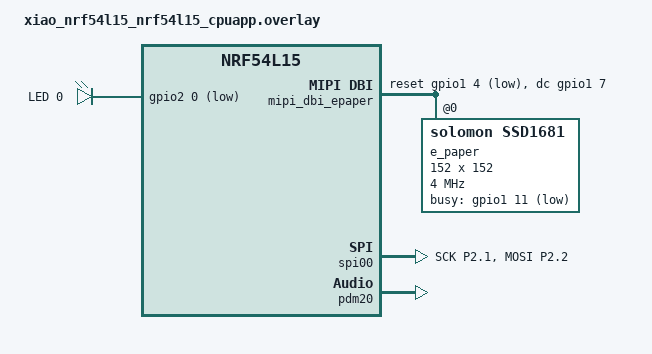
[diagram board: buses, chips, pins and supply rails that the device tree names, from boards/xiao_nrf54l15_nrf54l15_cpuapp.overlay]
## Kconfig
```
# SPDX-License-Identifier: Apache-2.0

mainmenu "The-Tag Firmware Configuration"

config FIND_MY
	bool "Apple Find My (OpenHaystack) support"
	default y
	depends on BT && BT_BROADCASTER && BT_EXT_ADV
	help
	  Enables non-connectable BLE advertising compatible with Apple's
	  Find My network using the OpenHaystack Offline Finding protocol.
	  When enabled, the device broadcasts a manufacturer-specific
	  advertisement that nearby Apple devices silently relay to Apple's
	  servers, allowing the tag to appear in the Find My app.

	  A unique EC P-224 key pair must be generated with the OpenHaystack
	  desktop application for production use.  See firmware/src/find_my.h
	  for details on key provisioning and rotation.

	  Reference: https://github.com/seemoo-lab/openhaystack

if FIND_MY

config FIND_MY_DEMO_KEY
	bool "Use built-in demonstration public key"
	default y
	help
	  Use the placeholder public key hard-coded in find_my.c.  This is
	  intended only for verifying the advertisement format during
	  development.  The placeholder key is NOT a valid EC P-224 point and
	  will NOT decrypt correctly on Apple's servers.

	  Disable this option and provision a real key pair generated by the
	  OpenHaystack desktop application before shipping.

endif # FIND_MY

source "Kconfig.zephyr"
```

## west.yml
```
manifest:
  version: "1.0"
  defaults:
    remote: ncs
    revision: main

  self:
    path: west-manifest

  remotes:
    - name: ncs
      url-base: https://github.com/nrfconnect

  projects:
    - name: nrf
      repo-path: sdk-nrf
      revision: v3.2.4
      import: true
```

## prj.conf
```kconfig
CONFIG_SPI=y
CONFIG_DISPLAY=y
CONFIG_SSD16XX=n
CONFIG_LOG=y
CONFIG_BT=y
CONFIG_BT_PERIPHERAL=y
CONFIG_BT_BROADCASTER=y
CONFIG_BT_DEVICE_NAME="the-tag"
CONFIG_BT_SMP=y
CONFIG_BT_BONDABLE=y

CONFIG_SETTINGS=y
CONFIG_BT_SETTINGS=y
CONFIG_BT_GATT_CACHING=n

# BLE data throughput: negotiate larger MTU for faster image transfer
CONFIG_BT_L2CAP_TX_MTU=247
CONFIG_BT_BUF_ACL_RX_SIZE=251
CONFIG_BT_BUF_ACL_TX_SIZE=251
CONFIG_BT_CTLR_DATA_LENGTH_MAX=251

# GATT config
CONFIG_BT_GATT_CLIENT=y
CONFIG_BT_ATT_PREPARE_COUNT=2

# Required for manual driver
CONFIG_GPIO=y
CONFIG_MCUBOOT_EXTRA_IMGTOOL_ARGS="--header-size 0x800"

# Audio: PDM microphone + LC3 encoding + BLE audio streaming
CONFIG_AUDIO=y
CONFIG_AUDIO_DMIC=y
CONFIG_FPU=y
CONFIG_LIBLC3=y
CONFIG_HEAP_MEM_POOL_SIZE=16384
```

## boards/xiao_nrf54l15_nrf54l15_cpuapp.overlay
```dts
&pinctrl {
	spi00_default: spi00_default {
		group1 {
			psels = <NRF_PSEL(SPIM_SCK, 2, 1)>,
				<NRF_PSEL(SPIM_MOSI, 2, 2)>;
		};
	};

	spi00_sleep: spi00_sleep {
		group1 {
			psels = <NRF_PSEL(SPIM_SCK, 2, 1)>,
				<NRF_PSEL(SPIM_MOSI, 2, 2)>;
			low-power-enable;
		};
	};

};

&spi00 {
	status = "okay";
	pinctrl-0 = <&spi00_default>;
	pinctrl-1 = <&spi00_sleep>;
	pinctrl-names = "default", "sleep";

	cs-gpios = <&gpio1 5 GPIO_ACTIVE_LOW>; /* D1 -> P1.05 */
};

/ {
	chosen {
		zephyr,display = &e_paper;
	};

	leds {
		compatible = "gpio-leds";

		led0: led_0 {
			gpios = <&gpio2 0 GPIO_ACTIVE_LOW>;
			label = "LED 0";
		};
	};

	aliases {
		led0  = &led0;
		dmic0 = &pdm20;
	};

	mipi_dbi_epaper: mipi-dbi-epaper {
		compatible = "zephyr,mipi-dbi-spi";
		spi-dev = <&spi00>;
		dc-gpios = <&gpio1 7 GPIO_ACTIVE_HIGH>;    /* D3 -> P1.07 */
		reset-gpios = <&gpio1 4 GPIO_ACTIVE_LOW>;  /* D0 -> P1.04 */
		#address-cells = <1>;
		#size-cells = <0>;


		e_paper: ssd16xx@0 {
			compatible = "solomon,ssd1681";
			reg = <0>;
			mipi-max-frequency = <4000000>;
			mipi-mode = "MIPI_DBI_MODE_SPI_4WIRE";

			busy-gpios = <&gpio1 11 GPIO_ACTIVE_LOW>; /* D5 -> P1.11 */
			width = <152>;
			height = <152>;
			rotation = <0>;
		};
	};
};

/* PDM microphone (Zephyr DMIC API) */
&pdm20 {
	status = "okay";
	pinctrl-0 = <&pdm20_default>;
	pinctrl-names = "default";
	clock-source = "PCLK32M";
};
```

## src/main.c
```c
/*
 * Copyright (c) 2024 Kelvin
 * SPDX-License-Identifier: Apache-2.0
 */

#include <zephyr/device.h>
#include <zephyr/drivers/spi.h>
#include <zephyr/drivers/gpio.h>
#include <zephyr/kernel.h>
#include <zephyr/logging/log.h>
#include <string.h>
#include <zephyr/bluetooth/bluetooth.h>
#include <zephyr/bluetooth/hci.h>

#include "ble_backend.h"
#include "ble_image_service.h"
#include "ble_audio_service.h"
#include "mic_driver.h"
#include "image_boaviet.h"

LOG_MODULE_REGISTER(main, CONFIG_LOG_DEFAULT_LEVEL);

#define EPD_WIDTH 152
#define EPD_HEIGHT 152
#define BUFFER_SIZE (EPD_WIDTH * EPD_HEIGHT / 4)

/* GPIO pins */
#define DC_NODE    DT_NODELABEL(gpio1)
#define RESET_NODE DT_NODELABEL(gpio1)
#define BUSY_NODE  DT_NODELABEL(gpio1)
#define CS_NODE    DT_NODELABEL(gpio1)

#define DC_PIN     7   // P1.07 (D3)
#define RESET_PIN  4   // P1.04 (D0)
#define BUSY_PIN   11  // P1.11 (D5)
#define CS_PIN     5   // P1.05 (D1)

/* LED */
#define LED0_NODE DT_ALIAS(led0)

static struct gpio_dt_spec dc_gpio;
static struct gpio_dt_spec reset_gpio;
static struct gpio_dt_spec busy_gpio;
static struct gpio_dt_spec cs_gpio;
static struct gpio_dt_spec led = GPIO_DT_SPEC_GET(LED0_NODE, gpios);

static const struct device *spi_dev;
static struct spi_config spi_cfg;

static uint8_t frame_buffer[BUFFER_SIZE];

static K_SEM_DEFINE(image_ready_sem, 0, 1);
static const uint8_t *pending_image_data;
static uint16_t pending_image_size;

static void on_ble_image_ready(const uint8_t *data, uint16_t size)
{
    pending_image_data = data;
    pending_image_size = size;
    k_sem_give(&image_ready_sem);
}

/* Helper functions */
static void jd79661_write_cmd(uint8_t cmd)
{
    struct spi_buf tx_buf = {.buf = &cmd, .len = 1};
    struct spi_buf_set tx_bufs = {.buffers = &tx_buf, .count = 1};
    
    gpio_pin_set_dt(&cs_gpio, 1);  // CS active (low)
    gpio_pin_set_dt(&dc_gpio, 0);  // Command mode
    spi_write(spi_dev, &spi_cfg, &tx_bufs);
    gpio_pin_set_dt(&cs_gpio, 0);  // CS inactive (high)
}

static void jd79661_write_data(uint8_t data)
{
    struct spi_buf tx_buf = {.buf = &data, .len = 1};
    struct spi_buf_set tx_bufs = {.buffers = &tx_buf, .count = 1};
    
    gpio_pin_set_dt(&cs_gpio, 1);  // CS active (low)
    gpio_pin_set_dt(&dc_gpio, 1);  // Data mode
    spi_write(spi_dev, &spi_cfg, &tx_bufs);
    gpio_pin_set_dt(&cs_gpio, 0);  // CS inactive (high)
}

static void jd79661_write_data_bulk(const uint8_t *data, size_t len)
{
    gpio_pin_set_dt(&cs_gpio, 1);  // CS active (low)
    gpio_pin_set_dt(&dc_gpio, 1);  // Data mode
    
    // Write in chunks
    const size_t chunk_size = 256;
    for (size_t i = 0; i < len; i += chunk_size) {
        size_t remaining = len - i;
        size_t write_len = (remaining < chunk_size) ? remaining : chunk_size;
        
        struct spi_buf tx_buf = {.buf = (void *)(data + i), .len = write_len};
        struct spi_buf_set tx_bufs = {.buffers = &tx_buf, .count = 1};
        spi_write(spi_dev, &spi_cfg, &tx_bufs);
    }
    
    gpio_pin_set_dt(&cs_gpio, 0);  // CS inactive (high)
}

static bool jd79661_wait_busy(void)
{
    int cnt = 0;
    /* BUSY=0 means busy, BUSY=1 means idle */
    LOG_INF("Waiting for busy (initial: %d)...", gpio_pin_get_dt(&busy_gpio));
    while (gpio_pin_get_dt(&busy_gpio) == 0) {
        k_msleep(10);
        cnt++;
        if (cnt > 500) { // 5s timeout
            LOG_WRN("Busy timeout, continue anyway");
            return false;
        }
    }
    LOG_INF("Busy released");
    return true;
}

static void jd79661_reset(void)
{
    k_msleep(20);
    gpio_pin_set_dt(&reset_gpio, 0);  // Reset low
    k_msleep(40);
    gpio_pin_set_dt(&reset_gpio, 1);  // Reset high
    k_msleep(50);
}

static int jd79661_init(void)
{
    LOG_INF("Initializing JD79661...");
    
    jd79661_reset();
    (void)jd79661_wait_busy();
    
    // Initialization sequence from STM32 sample code
    jd79661_write_cmd(0x4D);
    jd79661_write_data(0x78);
    k_usleep(100);
    
    jd79661_write_cmd(0x00);  // PSR
    jd79661_write_data(0x0F);
    jd79661_write_data(0x29);
    k_usleep(100);
    
    jd79661_write_cmd(0x01);  // PWRR
    jd79661_write_data(0x07);
    jd79661_write_data(0x00);
    k_usleep(100);
    
    jd79661_write_cmd(0x03);  // POFS
    jd79661_write_data(0x10);
    jd79661_write_data(0x54);
    jd79661_write_data(0x44);
    k_usleep(100);
    
    jd79661_write_cmd(0x06);  // BTST_P
    jd79661_write_data(0x05);
    jd79661_write_data(0x00);
    jd79661_write_data(0x3F);
    jd79661_write_data(0x0A);
    jd79661_write_data(0x25);
    jd79661_write_data(0x12);
    jd79661_write_data(0x1A);
    k_usleep(100);
    
    jd79661_write_cmd(0x50);  // CDI
    jd79661_write_data(0x37);
    k_usleep(100);
    
    jd79661_write_cmd(0x60);  // TCON
    jd79661_write_data(0x02);
    jd79661_write_data(0x02);
    k_usleep(100);
    
    jd79661_write_cmd(0x61);  // TRES
    jd79661_write_data(EPD_WIDTH / 256);
    jd79661_write_data(EPD_WIDTH % 256);
    jd79661_write_data(EPD_HEIGHT / 256);
    jd79661_write_data(EPD_HEIGHT % 256);
    k_usleep(100);
    
    jd79661_write_cmd(0xE7);
    jd79661_write_data(0x1C);
    k_usleep(100);
    
    jd79661_write_cmd(0xE3);
    jd79661_write_data(0x22);
    k_usleep(100);
    
    jd79661_write_cmd(0xB4);
    jd79661_write_data(0xD0);
    k_usleep(100);
    
    jd79661_write_cmd(0xB5);
    jd79661_write_data(0x03);
    k_usleep(100);
    
    jd79661_write_cmd(0xE9);
    jd79661_write_data(0x01);
    k_usleep(100);
    
    jd79661_write_cmd(0x30);
    jd79661_write_data(0x08);
    k_usleep(100);
    
    jd79661_write_cmd(0x04);  // Power on
    (void)jd79661_wait_busy();
    
    LOG_INF("JD79661 initialized");
    return 0;
}

static void jd79661_display_frame(const uint8_t *buffer, size_t size)
{
    LOG_INF("Sending framebuffer (%d bytes)...", size);
    
    jd79661_write_cmd(0x10);  // Write data
    jd79661_write_data_bulk(buffer, size);
    
    LOG_INF("Refreshing display...");
    jd79661_write_cmd(0x12);  // Display refresh
    jd79661_write_data(0x00);
    (void)jd79661_wait_busy();
    
    LOG_INF("Display update complete");
}

int main(void)
{
    int ret;
    
    LOG_INF("=== The-Tag Firmware ===");
    
    ble_backend_init();
    ble_image_service_init(on_ble_image_ready);
    ble_audio_service_init();

    int mic_err = mic_driver_init();
    if (mic_err) {
        LOG_WRN("Mic driver init failed (%d) – audio streaming unavailable", mic_err);
    }

    /* LED Init */
    if (!gpio_is_ready_dt(&led)) {
        LOG_ERR("LED GPIO not ready");
        return -ENODEV;
    }
    gpio_pin_configure_dt(&led, GPIO_OUTPUT_ACTIVE);
    
    /* SPI Init */
    spi_dev = DEVICE_DT_GET(DT_NODELABEL(spi00));
    if (!device_is_ready(spi_dev)) {
        LOG_ERR("SPI device not ready");
        return -ENODEV;
    }
    
    spi_cfg.frequency = 4000000;  // 4 MHz
    spi_cfg.operation = SPI_WORD_SET(8) | SPI_TRANSFER_MSB | SPI_OP_MODE_MASTER;
    spi_cfg.slave = 0;
    spi_cfg.cs = (struct spi_cs_control) {
        .gpio = {0},  // No auto CS
        .delay = 0,
    };
    
    /* GPIO Init */
    dc_gpio.port = DEVICE_DT_GET(DC_NODE);
    dc_gpio.pin = DC_PIN;
    dc_gpio.dt_flags = GPIO_ACTIVE_HIGH;
    
    reset_gpio.port = DEVICE_DT_GET(RESET_NODE);
    reset_gpio.pin = RESET_PIN;
    reset_gpio.dt_flags = GPIO_ACTIVE_HIGH;
    
    busy_gpio.port = DEVICE_DT_GET(BUSY_NODE);
    busy_gpio.pin = BUSY_PIN;
    busy_gpio.dt_flags = GPIO_ACTIVE_HIGH;
    
    cs_gpio.port = DEVICE_DT_GET(CS_NODE);
    cs_gpio.pin = CS_PIN;
    cs_gpio.dt_flags = GPIO_ACTIVE_LOW;
    
    if (!device_is_ready(dc_gpio.port)) {
        LOG_ERR("GPIO not ready");
        return -ENODEV;
    }
    
    ret = gpio_pin_configure_dt(&dc_gpio, GPIO_OUTPUT_INACTIVE);
    ret |= gpio_pin_configure_dt(&reset_gpio, GPIO_OUTPUT_ACTIVE);
    ret |= gpio_pin_configure_dt(&busy_gpio, GPIO_INPUT);
    ret |= gpio_pin_configure_dt(&cs_gpio, GPIO_OUTPUT_INACTIVE);
    
    if (ret < 0) {
        LOG_ERR("Failed to configure GPIO: %d", ret);
        return ret;
    }
    
    LOG_INF("GPIO configured");
    
    /* Initialize Display */
    ret = jd79661_init();
    if (ret < 0) {
        LOG_ERR("Failed to init display");
        return ret;
    }
    
    /* Display default image on boot */
    LOG_INF("Loading default image (%u bytes)...", BUFFER_SIZE);
    memcpy(frame_buffer, image_image_boaviet, BUFFER_SIZE);
    jd79661_display_frame(frame_buffer, sizeof(frame_buffer));
    LOG_INF("Default image displayed. Waiting for BLE images...");

    while (1) {
        if (k_sem_take(&image_ready_sem, K_MSEC(500)) == 0) {
            LOG_INF("BLE image received (%u bytes), updating display...", pending_image_size);
            memcpy(frame_buffer, pending_image_data, pending_image_size);
            jd79661_display_frame(frame_buffer, sizeof(frame_buffer));
            ble_image_notify_display_done();
            LOG_INF("BLE image displayed successfully");
        }
        gpio_pin_toggle_dt(&led);
    }

    return 0;
}
```

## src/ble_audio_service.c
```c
#include <zephyr/kernel.h>
#include <zephyr/bluetooth/bluetooth.h>
#include <zephyr/bluetooth/gatt.h>
#include <zephyr/bluetooth/uuid.h>
#include <zephyr/logging/log.h>
#include <string.h>

#include "ble_audio_service.h"
#include "mic_driver.h"

LOG_MODULE_REGISTER(ble_audio_svc, CONFIG_LOG_DEFAULT_LEVEL);

static struct bt_uuid_128 audio_svc_uuid  = BT_UUID_INIT_128(BLE_AUDIO_SERVICE_UUID);
static struct bt_uuid_128 audio_data_uuid = BT_UUID_INIT_128(BLE_AUDIO_DATA_CHAR_UUID);
static struct bt_uuid_128 audio_ctrl_uuid = BT_UUID_INIT_128(BLE_AUDIO_CTRL_CHAR_UUID);

static bool data_notifications_enabled;
static bool ctrl_notifications_enabled;

static void audio_data_ccc_changed(const struct bt_gatt_attr *attr, uint16_t value);
static void audio_ctrl_ccc_changed(const struct bt_gatt_attr *attr, uint16_t value);
static ssize_t audio_ctrl_write_cb(struct bt_conn *conn, const struct bt_gatt_attr *attr,
                                   const void *buf, uint16_t len, uint16_t offset,
                                   uint8_t flags);

/*
 * GATT service attribute table (indices used when sending notifications):
 *   [0] Primary service declaration
 *   [1] Audio Data characteristic declaration
 *   [2] Audio Data characteristic value   ← notify audio frames here
 *   [3] Audio Data CCC descriptor
 *   [4] Audio Ctrl characteristic declaration
 *   [5] Audio Ctrl characteristic value   ← notify status here
 *   [6] Audio Ctrl CCC descriptor
 */
BT_GATT_SERVICE_DEFINE(audio_svc,
    BT_GATT_PRIMARY_SERVICE(&audio_svc_uuid),

    /* Audio Data – Notify only (firmware → phone) */
    BT_GATT_CHARACTERISTIC(&audio_data_uuid.uuid,
                           BT_GATT_CHRC_NOTIFY,
                           BT_GATT_PERM_NONE,
                           NULL, NULL, NULL),
    BT_GATT_CCC(audio_data_ccc_changed, BT_GATT_PERM_READ | BT_GATT_PERM_WRITE),

    /* Audio Control – Write + Notify (phone ↔ firmware) */
    BT_GATT_CHARACTERISTIC(&audio_ctrl_uuid.uuid,
                           BT_GATT_CHRC_WRITE | BT_GATT_CHRC_NOTIFY,
                           BT_GATT_PERM_WRITE,
                           NULL, audio_ctrl_write_cb, NULL),
    BT_GATT_CCC(audio_ctrl_ccc_changed, BT_GATT_PERM_READ | BT_GATT_PERM_WRITE),
);

/* ------------------------------------------------------------------ */
/* CCC callbacks                                                        */
/* ------------------------------------------------------------------ */

static void audio_data_ccc_changed(const struct bt_gatt_attr *attr, uint16_t value)
{
    data_notifications_enabled = (value == BT_GATT_CCC_NOTIFY);
    LOG_INF("Audio data notifications %s",
            data_notifications_enabled ? "enabled" : "disabled");

    /* Mic start/stop is driven by the explicit CMD_START / CMD_STOP
     * commands on the control characteristic – not by CCC toggling –
     * to avoid a double-start race and to give the app full control. */
}

static void audio_ctrl_ccc_changed(const struct bt_gatt_attr *attr, uint16_t value)
{
    ctrl_notifications_enabled = (value == BT_GATT_CCC_NOTIFY);
    LOG_INF("Audio ctrl notifications %s",
            ctrl_notifications_enabled ? "enabled" : "disabled");
}

/* ------------------------------------------------------------------ */
/* Helpers                                                              */
/* ------------------------------------------------------------------ */

static void send_ctrl_status(uint8_t status)
{
    if (!ctrl_notifications_enabled) {
        return;
    }
    /* Audio Ctrl char value is at index 5 */
    const struct bt_gatt_attr *attr = &audio_svc.attrs[5];
    int err = bt_gatt_notify(NULL, attr, &status, sizeof(status));

    if (err) {
        LOG_DBG("Ctrl status notify failed: %d", err);
    }
}

/* ------------------------------------------------------------------ */
/* Control write handler                                                */
/* ------------------------------------------------------------------ */

static ssize_t audio_ctrl_write_cb(struct bt_conn *conn, const struct bt_gatt_attr *attr,
                                   const void *buf, uint16_t len, uint16_t offset,
                                   uint8_t flags)
{
    ARG_UNUSED(conn);
    ARG_UNUSED(attr);
    ARG_UNUSED(offset);
    ARG_UNUSED(flags);

    const uint8_t *cmd = buf;

    if (len < 1) {
        return BT_GATT_ERR(BT_ATT_ERR_INVALID_ATTRIBUTE_LEN);
    }

    switch (cmd[0]) {
    case AUDIO_CMD_START:
        LOG_INF("Audio CMD_START received");
        mic_driver_start();
        send_ctrl_status(AUDIO_STATUS_RECORDING);
        break;

    case AUDIO_CMD_STOP:
        LOG_INF("Audio CMD_STOP received");
        mic_driver_stop();
        send_ctrl_status(AUDIO_STATUS_STOPPED);
        break;

    default:
        LOG_WRN("Unknown audio command: 0x%02x", cmd[0]);
        return BT_GATT_ERR(BT_ATT_ERR_NOT_SUPPORTED);
    }

    return len;
}

/* ------------------------------------------------------------------ */
/* Public API                                                           */
/* ------------------------------------------------------------------ */

void ble_audio_service_notify_frame(const uint8_t *lc3_data, uint16_t len, uint16_t seq)
{
    if (!data_notifications_enabled) {
        return;
    }

    if (len > AUDIO_FRAME_BYTES) {
        len = AUDIO_FRAME_BYTES;
    }

    /* Build notification: [seq_lo, seq_hi, len_lo, len_hi, ...lc3_data...] */
    uint8_t frame[AUDIO_FRAME_HEADER_SIZE + AUDIO_FRAME_BYTES];

    frame[0] = (uint8_t)(seq & 0xFF);
    frame[1] = (uint8_t)((seq >> 8) & 0xFF);
    frame[2] = (uint8_t)(len & 0xFF);
    frame[3] = (uint8_t)((len >> 8) & 0xFF);
    memcpy(&frame[AUDIO_FRAME_HEADER_SIZE], lc3_data, len);

    /* Audio Data char value is at index 2 */
    const struct bt_gatt_attr *attr = &audio_svc.attrs[2];
    int err = bt_gatt_notify(NULL, attr, frame, AUDIO_FRAME_HEADER_SIZE + len);

    if (err) {
        LOG_DBG("Audio frame notify failed (seq=%u): %d", seq, err);
    }
}

bool ble_audio_service_is_streaming(void)
{
    return data_notifications_enabled;
}

void ble_audio_service_init(void)
{
    data_notifications_enabled = false;
    ctrl_notifications_enabled = false;
    LOG_INF("BLE Audio Service initialised");
}
```

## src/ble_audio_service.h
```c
#ifndef BLE_AUDIO_SERVICE_H
#define BLE_AUDIO_SERVICE_H

#include <zephyr/types.h>
#include <stdbool.h>

/* LC3 audio parameters */
#define AUDIO_SAMPLE_RATE_HZ        16000
#define AUDIO_FRAME_DURATION_US     10000   /* 10 ms */
#define AUDIO_BITRATE_BPS           32000   /* 32 kbps */
#define AUDIO_FRAME_BYTES           40      /* 32000 / 8 * 0.010 = 40 bytes per LC3 frame */
#define AUDIO_CHANNELS              1       /* Mono */
#define AUDIO_PCM_SAMPLES_PER_FRAME 160     /* 16000 Hz * 0.010 s */

/* BLE Audio Service UUIDs */
#define BLE_AUDIO_SERVICE_UUID \
    BT_UUID_128_ENCODE(0x12345678, 0x1234, 0x5678, 0x1234, 0x56789abcdef3)

/* Audio Data characteristic – Notify (firmware → phone): carries LC3 frames */
#define BLE_AUDIO_DATA_CHAR_UUID \
    BT_UUID_128_ENCODE(0x12345678, 0x1234, 0x5678, 0x1234, 0x56789abcdef4)

/* Audio Control characteristic – Write | Notify (phone ↔ firmware): commands/status */
#define BLE_AUDIO_CTRL_CHAR_UUID \
    BT_UUID_128_ENCODE(0x12345678, 0x1234, 0x5678, 0x1234, 0x56789abcdef5)

/* Control commands (phone → firmware, written to ctrl char) */
#define AUDIO_CMD_START  0x01   /* Begin recording and streaming */
#define AUDIO_CMD_STOP   0x02   /* Stop recording and streaming */

/* Status notifications (firmware → phone, notified on ctrl char) */
#define AUDIO_STATUS_RECORDING  0x01
#define AUDIO_STATUS_STOPPED    0x02
#define AUDIO_STATUS_ERROR      0xFF

/*
 * Audio data frame layout sent as BLE notification on the data characteristic:
 *   Byte 0-1 : sequence number (little-endian)
 *   Byte 2-3 : LC3 payload length in bytes (little-endian)
 *   Byte 4…  : LC3-encoded audio payload
 */
#define AUDIO_FRAME_HEADER_SIZE 4

/**
 * @brief Initialise the BLE Audio GATT service.
 *
 * Must be called after bt_enable().
 */
void ble_audio_service_init(void);

/**
 * @brief Notify a single LC3 audio frame to all subscribed clients.
 *
 * @param lc3_data  Pointer to LC3-encoded frame bytes.
 * @param len       Length of lc3_data (must be <= AUDIO_FRAME_BYTES).
 * @param seq       Monotonically-increasing sequence number.
 */
void ble_audio_service_notify_frame(const uint8_t *lc3_data, uint16_t len, uint16_t seq);

/**
 * @brief Return true when at least one client has subscribed to audio data notifications.
 */
bool ble_audio_service_is_streaming(void);

#endif /* BLE_AUDIO_SERVICE_H */
```

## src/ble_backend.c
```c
#include <zephyr/kernel.h>
#include <zephyr/bluetooth/gatt.h>
#include <zephyr/bluetooth/hci.h>
#include <zephyr/logging/log.h>
#include <zephyr/settings/settings.h>

#include "ble_image_service.h"
#include "mic_driver.h"

LOG_MODULE_REGISTER(ble_backend);

/* Work item to restart advertising from the system workqueue
 * (must not block the BT RX thread in the disconnected callback). */
static struct k_work adv_restart_work;

static const struct bt_data ad[] = {
	BT_DATA_BYTES(BT_DATA_FLAGS, (BT_LE_AD_GENERAL | BT_LE_AD_NO_BREDR)),
	BT_DATA_BYTES(BT_DATA_UUID128_ALL, BLE_IMAGE_SERVICE_UUID),
};

static const struct bt_data sd[] = {
	BT_DATA(BT_DATA_NAME_COMPLETE, CONFIG_BT_DEVICE_NAME, sizeof(CONFIG_BT_DEVICE_NAME) - 1),
};

static void start_adv(void)
{
	int err;

	err = bt_le_adv_start(BT_LE_ADV_CONN_FAST_1, ad, ARRAY_SIZE(ad), sd, ARRAY_SIZE(sd));
	if (err) {
		LOG_ERR("Advertising failed to start (err %d)", err);
		return;
	}

	LOG_INF("Advertising successfully started");
}

static void adv_restart_work_handler(struct k_work *work)
{
	ARG_UNUSED(work);
	start_adv();
}

static void connected(struct bt_conn *conn, uint8_t err)
{
	if (err) {
		LOG_ERR("Connection failed, err 0x%02x %s", err, bt_hci_err_to_str(err));
	} else {
		LOG_INF("Connected");
	}
}

static void disconnected(struct bt_conn *conn, uint8_t reason)
{
	LOG_INF("Disconnected, reason 0x%02x %s", reason, bt_hci_err_to_str(reason));

	/* Stop mic capture if still running (prevents resource leak) */
	mic_driver_stop();

	/* Defer advertising restart to the system workqueue so we do not
	 * block the BT RX thread – the stack needs to finish connection
	 * cleanup before bt_le_adv_start() can succeed. */
	k_work_submit(&adv_restart_work);
}

BT_CONN_CB_DEFINE(conn_callbacks) = {
	.connected = connected,
	.disconnected = disconnected,
};

static void auth_cancel(struct bt_conn *conn)
{
	char addr[BT_ADDR_LE_STR_LEN];

	bt_addr_le_to_str(bt_conn_get_dst(conn), addr, sizeof(addr));

	LOG_INF("Pairing cancelled: %s", addr);
}

static struct bt_conn_auth_cb auth_cb_display = {
	.cancel = auth_cancel,
};

void backend_ble_hook(bool status, void *ctx)
{
	ARG_UNUSED(ctx);

	if (status) {
		LOG_INF("Bluetooth Logger Backend enabled.");
	} else {
		LOG_INF("Bluetooth Logger Backend disabled.");
	}
}

void ble_backend_init(void)
{
	int err;

	LOG_INF("Bluetooth LOG Demo");
	// logger_backend_ble_set_hook(backend_ble_hook, NULL);
	err = bt_enable(NULL);
	if (err) {
		LOG_ERR("Bluetooth init failed (err %d)", err);
		return;
	}
	
	settings_load();

	k_work_init(&adv_restart_work, adv_restart_work_handler);
	bt_conn_auth_cb_register(&auth_cb_display);

	start_adv();
}
```

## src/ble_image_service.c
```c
#include <zephyr/kernel.h>
#include <zephyr/bluetooth/bluetooth.h>
#include <zephyr/bluetooth/gatt.h>
#include <zephyr/bluetooth/uuid.h>
#include <zephyr/logging/log.h>
#include <string.h>

#include "ble_image_service.h"

LOG_MODULE_REGISTER(ble_image_svc, CONFIG_LOG_DEFAULT_LEVEL);

static uint8_t image_buffer[EPD_IMAGE_SIZE];
static uint16_t image_offset;
static uint16_t image_expected_size;
static bool transfer_active;
static ble_image_ready_cb_t ready_callback;
static ble_find_device_cb_t find_callback;

static struct bt_uuid_128 image_svc_uuid = BT_UUID_INIT_128(BLE_IMAGE_SERVICE_UUID);
static struct bt_uuid_128 image_data_uuid = BT_UUID_INIT_128(BLE_IMAGE_DATA_CHAR_UUID);
static struct bt_uuid_128 image_ctrl_uuid = BT_UUID_INIT_128(BLE_IMAGE_CTRL_CHAR_UUID);

static void ctrl_ccc_changed(const struct bt_gatt_attr *attr, uint16_t value);
static ssize_t data_write_cb(struct bt_conn *conn, const struct bt_gatt_attr *attr,
                             const void *buf, uint16_t len, uint16_t offset, uint8_t flags);
static ssize_t ctrl_write_cb(struct bt_conn *conn, const struct bt_gatt_attr *attr,
                             const void *buf, uint16_t len, uint16_t offset, uint8_t flags);

BT_GATT_SERVICE_DEFINE(image_svc,
    BT_GATT_PRIMARY_SERVICE(&image_svc_uuid),

    /* Image Data characteristic - Write Without Response */
    BT_GATT_CHARACTERISTIC(&image_data_uuid.uuid,
                           BT_GATT_CHRC_WRITE_WITHOUT_RESP,
                           BT_GATT_PERM_WRITE,
                           NULL, data_write_cb, NULL),

    /* Control characteristic - Write + Notify */
    BT_GATT_CHARACTERISTIC(&image_ctrl_uuid.uuid,
                           BT_GATT_CHRC_WRITE | BT_GATT_CHRC_NOTIFY,
                           BT_GATT_PERM_WRITE,
                           NULL, ctrl_write_cb, NULL),
    BT_GATT_CCC(ctrl_ccc_changed, BT_GATT_PERM_READ | BT_GATT_PERM_WRITE),
);

static bool notifications_enabled;

static void ctrl_ccc_changed(const struct bt_gatt_attr *attr, uint16_t value)
{
    notifications_enabled = (value == BT_GATT_CCC_NOTIFY);
    LOG_INF("Image ctrl notifications %s", notifications_enabled ? "enabled" : "disabled");
}

static void send_notification(const uint8_t *data, uint16_t len)
{
    if (!notifications_enabled) {
        return;
    }

    /* Ctrl characteristic value attr is at index 4 (after svc, data chrc, data val, ctrl chrc) */
    const struct bt_gatt_attr *attr = &image_svc.attrs[4];

    bt_gatt_notify(NULL, attr, data, len);
}

static void send_status(uint8_t status)
{
    send_notification(&status, 1);
}

static void send_progress(uint16_t received)
{
    uint8_t buf[3] = {IMG_STATUS_PROGRESS, received & 0xFF, received >> 8};
    send_notification(buf, sizeof(buf));
}

static void send_error(uint8_t err_code)
{
    uint8_t buf[2] = {IMG_STATUS_ERROR, err_code};
    send_notification(buf, sizeof(buf));
}

static ssize_t data_write_cb(struct bt_conn *conn, const struct bt_gatt_attr *attr,
                             const void *buf, uint16_t len, uint16_t offset, uint8_t flags)
{
    if (!transfer_active) {
        LOG_WRN("Data received but no transfer active");
        send_error(IMG_ERR_NOT_STARTED);
        return len;
    }

    if (image_offset + len > image_expected_size) {
        LOG_ERR("Data overflow: offset=%u len=%u expected=%u", image_offset, len, image_expected_size);
        send_error(IMG_ERR_OVERFLOW);
        transfer_active = false;
        return len;
    }

    memcpy(&image_buffer[image_offset], buf, len);
    image_offset += len;

    /* Send progress every ~1KB */
    if ((image_offset % 1024) < len || image_offset == image_expected_size) {
        send_progress(image_offset);
    }

    return len;
}

static ssize_t ctrl_write_cb(struct bt_conn *conn, const struct bt_gatt_attr *attr,
                             const void *buf, uint16_t len, uint16_t offset, uint8_t flags)
{
    const uint8_t *cmd = buf;

    if (len < 1) {
        return BT_GATT_ERR(BT_ATT_ERR_INVALID_ATTRIBUTE_LEN);
    }

    switch (cmd[0]) {
    case IMG_CMD_START:
        if (len < 3) {
            return BT_GATT_ERR(BT_ATT_ERR_INVALID_ATTRIBUTE_LEN);
        }
        image_expected_size = cmd[1] | (cmd[2] << 8);
        if (image_expected_size > EPD_IMAGE_SIZE) {
            LOG_ERR("Invalid image size: %u (max %u)", image_expected_size, EPD_IMAGE_SIZE);
            send_error(IMG_ERR_INVALID_SIZE);
            return len;
        }
        image_offset = 0;
        transfer_active = true;
        memset(image_buffer, 0, sizeof(image_buffer));
        LOG_INF("Image transfer started, expecting %u bytes", image_expected_size);
        send_status(IMG_STATUS_READY);
        break;

    case IMG_CMD_COMMIT:
        if (!transfer_active) {
            send_error(IMG_ERR_NOT_STARTED);
            return len;
        }
        if (image_offset < image_expected_size) {
            LOG_WRN("Incomplete transfer: %u/%u bytes", image_offset, image_expected_size);
            send_error(IMG_ERR_INCOMPLETE);
            return len;
        }
        transfer_active = false;
        LOG_INF("Image transfer complete (%u bytes), displaying...", image_offset);
        send_status(IMG_STATUS_DISPLAYING);

        if (ready_callback) {
            ready_callback(image_buffer, image_offset);
        }
        break;

    case IMG_CMD_CANCEL:
        transfer_active = false;
        image_offset = 0;
        LOG_INF("Image transfer cancelled");
        break;

    case IMG_CMD_FIND:
        LOG_INF("Find-device command received: starting LED blink");
        send_status(IMG_STATUS_FINDING);
        if (find_callback) {
            find_callback();
        }
        break;

    default:
        LOG_WRN("Unknown control command: 0x%02x", cmd[0]);
        return BT_GATT_ERR(BT_ATT_ERR_NOT_SUPPORTED);
    }

    return len;
}

void ble_image_service_init(ble_image_ready_cb_t callback)
{
    ready_callback = callback;
    find_callback = NULL;
    transfer_active = false;
    image_offset = 0;
    LOG_INF("BLE Image Service initialized");
}

void ble_image_service_set_find_cb(ble_find_device_cb_t callback)
{
    find_callback = callback;
}

void ble_image_notify_display_done(void)
{
    send_status(IMG_STATUS_DONE);
    LOG_INF("Display done notification sent");
}
```

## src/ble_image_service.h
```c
#ifndef BLE_IMAGE_SERVICE_H
#define BLE_IMAGE_SERVICE_H

#include <zephyr/types.h>

#define EPD_IMAGE_SIZE 5776 /* 152*152/4 bytes, 2bpp */

/* BLE Image Service UUIDs */
#define BLE_IMAGE_SERVICE_UUID \
    BT_UUID_128_ENCODE(0x12345678, 0x1234, 0x5678, 0x1234, 0x56789abcdef0)

#define BLE_IMAGE_DATA_CHAR_UUID \
    BT_UUID_128_ENCODE(0x12345678, 0x1234, 0x5678, 0x1234, 0x56789abcdef1)

#define BLE_IMAGE_CTRL_CHAR_UUID \
    BT_UUID_128_ENCODE(0x12345678, 0x1234, 0x5678, 0x1234, 0x56789abcdef2)

/* Control commands (phone -> firmware) */
#define IMG_CMD_START  0x01 /* [0x01, size_lo, size_hi] */
#define IMG_CMD_COMMIT 0x02 /* [0x02] */
#define IMG_CMD_CANCEL 0x03 /* [0x03] */
#define IMG_CMD_FIND   0x04 /* [0x04] — blink LED to help user locate tag */

/* Status notifications (firmware -> phone) */
#define IMG_STATUS_READY       0x00 /* Ready for data */
#define IMG_STATUS_PROGRESS    0x01 /* [0x01, received_lo, received_hi] */
#define IMG_STATUS_DISPLAYING  0x10 /* Started display refresh */
#define IMG_STATUS_DONE        0x11 /* Display refresh complete */
#define IMG_STATUS_FINDING     0x20 /* Find-device LED blink started */
#define IMG_STATUS_ERROR       0xFF /* [0xFF, error_code] */

#define IMG_ERR_INVALID_SIZE   0x01
#define IMG_ERR_OVERFLOW       0x02
#define IMG_ERR_NOT_STARTED    0x03
#define IMG_ERR_INCOMPLETE     0x04

typedef void (*ble_image_ready_cb_t)(const uint8_t *data, uint16_t size);
typedef void (*ble_find_device_cb_t)(void);

void ble_image_service_init(ble_image_ready_cb_t callback);
void ble_image_service_set_find_cb(ble_find_device_cb_t callback);
void ble_image_notify_display_done(void);

#endif /* BLE_IMAGE_SERVICE_H */
```

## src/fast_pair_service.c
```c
/*
 * Copyright (c) 2024 Kelvin
 * SPDX-License-Identifier: Apache-2.0
 *
 * Google Fast Pair GATT service implementation.
 *
 * Characteristics (all 128-bit UUIDs per the Fast Pair specification):
 *   Key-based Pairing : FE2C1234-8366-4814-8EB0-01DE32100BEA  (Write | Indicate)
 *   Passkey           : FE2C1235-8366-4814-8EB0-01DE32100BEA  (Write | Indicate)
 *   Account Key       : FE2C1236-8366-4814-8EB0-01DE32100BEA  (Write)
 *
 * Account keys are persisted using the Zephyr settings subsystem (NVS backend)
 * under the "fp/" namespace.
 *
 * NOTE: Full key-based pairing requires P-256 ECDH and AES-128 decryption
 * (enable CONFIG_TINYCRYPT_ECC_DH=y and CONFIG_TINYCRYPT_AES=y).  The write
 * handlers below are prepared for that extension; the crypto stubs can be
 * replaced once the tinyCrypt integration is in place.
 */

#include <zephyr/kernel.h>
#include <zephyr/bluetooth/bluetooth.h>
#include <zephyr/bluetooth/gatt.h>
#include <zephyr/bluetooth/uuid.h>
#include <zephyr/settings/settings.h>
#include <zephyr/logging/log.h>
#include <string.h>

#include "fast_pair_service.h"

LOG_MODULE_REGISTER(fast_pair_svc, CONFIG_LOG_DEFAULT_LEVEL);

/* --------------------------------------------------------------------------
 * UUID definitions
 * -------------------------------------------------------------------------- */

/* Fast Pair service UUID: 0xFE2C (16-bit, assigned by BT SIG to Google) */
static struct bt_uuid_16 fp_svc_uuid = BT_UUID_INIT_16(BT_UUID_FAST_PAIR_VAL);

/*
 * 128-bit characteristic UUIDs.
 * BT_UUID_128_ENCODE generates bytes in little-endian order as required by
 * the Zephyr BLE stack.
 */
#define FP_KBP_CHAR_UUID \
	BT_UUID_128_ENCODE(0xFE2C1234, 0x8366, 0x4814, 0x8EB0, 0x01DE32100BEAULL)

#define FP_PASSKEY_CHAR_UUID \
	BT_UUID_128_ENCODE(0xFE2C1235, 0x8366, 0x4814, 0x8EB0, 0x01DE32100BEAULL)

#define FP_ACCOUNT_KEY_CHAR_UUID \
	BT_UUID_128_ENCODE(0xFE2C1236, 0x8366, 0x4814, 0x8EB0, 0x01DE32100BEAULL)

static struct bt_uuid_128 fp_kbp_char_uuid      = BT_UUID_INIT_128(FP_KBP_CHAR_UUID);
static struct bt_uuid_128 fp_passkey_char_uuid  = BT_UUID_INIT_128(FP_PASSKEY_CHAR_UUID);
static struct bt_uuid_128 fp_acct_key_char_uuid = BT_UUID_INIT_128(FP_ACCOUNT_KEY_CHAR_UUID);

/* --------------------------------------------------------------------------
 * Account key storage
 * -------------------------------------------------------------------------- */

static uint8_t account_keys[FAST_PAIR_MAX_ACCOUNT_KEYS][FAST_PAIR_ACCOUNT_KEY_SIZE];
static uint8_t account_key_count;

/* Beacon rotation counter — incremented on each boot; used as GFDM seed. */
static uint32_t beacon_rotation_counter;

/* --------------------------------------------------------------------------
 * Zephyr settings handler
 * -------------------------------------------------------------------------- */

static int fp_settings_set(const char *name, size_t len,
			    settings_read_cb read_cb, void *cb_arg)
{
	const char *next;
	int rc;

	if (settings_name_steq(name, "akc", &next) && !next) {
		if (len != sizeof(account_key_count)) {
			return -EINVAL;
		}
		rc = read_cb(cb_arg, &account_key_count, sizeof(account_key_count));
		if (rc < 0) {
			return rc;
		}
		if (account_key_count > FAST_PAIR_MAX_ACCOUNT_KEYS) {
			account_key_count = FAST_PAIR_MAX_ACCOUNT_KEYS;
		}
		LOG_INF("Fast Pair: loaded key count %u", account_key_count);
		return 0;
	}

	if (settings_name_steq(name, "rot", &next) && !next) {
		if (len != sizeof(beacon_rotation_counter)) {
			return -EINVAL;
		}
		rc = read_cb(cb_arg, &beacon_rotation_counter, sizeof(beacon_rotation_counter));
		if (rc < 0) {
			return rc;
		}
		beacon_rotation_counter++;
		return settings_save_one("fp/rot", &beacon_rotation_counter,
					 sizeof(beacon_rotation_counter));
	}

	if (settings_name_steq(name, "ak", &next) && next) {
		/* Key index is the first character after "ak/" */
		if (next[0] < '0' || next[0] > '9') {
			return -EINVAL;
		}
		long idx = next[0] - '0';

		if (idx < 0 || idx >= FAST_PAIR_MAX_ACCOUNT_KEYS ||
		    len != FAST_PAIR_ACCOUNT_KEY_SIZE) {
			return -EINVAL;
		}
		rc = read_cb(cb_arg, account_keys[idx], FAST_PAIR_ACCOUNT_KEY_SIZE);
		if (rc < 0) {
			return rc;
		}
		LOG_INF("Fast Pair: loaded account key slot %ld", idx);
		return 0;
	}

	return -ENOENT;
}

static struct settings_handler fp_settings_handler = {
	.name  = "fp",
	.h_set = fp_settings_set,
};

/* --------------------------------------------------------------------------
 * Internal helpers for persisting account keys
 * -------------------------------------------------------------------------- */

static int fp_save_account_key(uint8_t idx, const uint8_t *key)
{
	char path[12]; /* "fp/ak/0" + NUL */

	snprintf(path, sizeof(path), "fp/ak/%u", idx);
	return settings_save_one(path, key, FAST_PAIR_ACCOUNT_KEY_SIZE);
}

static int fp_save_key_count(void)
{
	return settings_save_one("fp/akc", &account_key_count,
				 sizeof(account_key_count));
}

/* --------------------------------------------------------------------------
 * GATT characteristic callbacks
 * -------------------------------------------------------------------------- */

/* Key-based Pairing write handler (Write + Indicate) */
static ssize_t fp_kbp_write(struct bt_conn *conn,
			     const struct bt_gatt_attr *attr,
			     const void *buf, uint16_t len,
			     uint16_t offset, uint8_t flags)
{
	LOG_INF("Fast Pair: Key-based pairing request received (%u bytes)", len);

	/*
	 * Full implementation steps (requires CONFIG_TINYCRYPT_ECC_DH + AES):
	 *  1. Decrypt the 16-byte encrypted request with the device's ECDH
	 *     private key (P-256 shared secret as AES-128 key).
	 *  2. Verify request type byte (0x00 = key-based pairing request).
	 *  3. Generate a 128-bit anti-spoofing key and encrypt the response.
	 *  4. Indicate with the 16-byte encrypted response.
	 *
	 * For now the pairing handshake is logged for diagnostic purposes.
	 */

	return len;
}

static void fp_kbp_ccc_changed(const struct bt_gatt_attr *attr, uint16_t value)
{
	LOG_INF("Fast Pair: KBP indications %s",
		value == BT_GATT_CCC_INDICATE ? "enabled" : "disabled");
}

/* Passkey write handler (Write + Indicate) */
static ssize_t fp_passkey_write(struct bt_conn *conn,
				const struct bt_gatt_attr *attr,
				const void *buf, uint16_t len,
				uint16_t offset, uint8_t flags)
{
	LOG_INF("Fast Pair: Passkey write received (%u bytes)", len);

	/*
	 * Full implementation steps:
	 *  1. Decrypt passkey using the session key (derived from ECDH secret).
	 *  2. Compare with the locally generated/displayed passkey.
	 *  3. Indicate with the encrypted passkey if it matches.
	 */

	return len;
}

static void fp_passkey_ccc_changed(const struct bt_gatt_attr *attr, uint16_t value)
{
	LOG_INF("Fast Pair: Passkey indications %s",
		value == BT_GATT_CCC_INDICATE ? "enabled" : "disabled");
}

/*
 * Account Key write handler (Write only).
 *
 * Called by a paired Android phone to write a 16-byte AES-128 account key.
 * Keys are stored in NVS flash. If the key already exists it is not
 * duplicated. If all slots are full, the oldest key is replaced (FIFO).
 */
static ssize_t fp_account_key_write(struct bt_conn *conn,
				    const struct bt_gatt_attr *attr,
				    const void *buf, uint16_t len,
				    uint16_t offset, uint8_t flags)
{
	const uint8_t *new_key = (const uint8_t *)buf;
	uint8_t slot;

	if (len != FAST_PAIR_ACCOUNT_KEY_SIZE) {
		LOG_ERR("Fast Pair: invalid account key length %u (expected %u)",
			len, FAST_PAIR_ACCOUNT_KEY_SIZE);
		return BT_GATT_ERR(BT_ATT_ERR_INVALID_ATTRIBUTE_LEN);
	}

	/* Do not store duplicate keys. */
	for (uint8_t i = 0; i < account_key_count; i++) {
		if (memcmp(account_keys[i], new_key, FAST_PAIR_ACCOUNT_KEY_SIZE) == 0) {
			LOG_INF("Fast Pair: account key already stored in slot %u", i);
			return len;
		}
	}

	if (account_key_count < FAST_PAIR_MAX_ACCOUNT_KEYS) {
		slot = account_key_count;
		account_key_count++;
	} else {
		/* All slots full: evict oldest key (shift array, new key at end). */
		memmove(account_keys[0], account_keys[1],
			(FAST_PAIR_MAX_ACCOUNT_KEYS - 1) * FAST_PAIR_ACCOUNT_KEY_SIZE);
		slot = FAST_PAIR_MAX_ACCOUNT_KEYS - 1;
	}

	memcpy(account_keys[slot], new_key, FAST_PAIR_ACCOUNT_KEY_SIZE);

	fp_save_account_key(slot, new_key);
	fp_save_key_count();

	LOG_INF("Fast Pair: stored account key in slot %u (total: %u)",
		slot, account_key_count);

	return len;
}

/* --------------------------------------------------------------------------
 * GATT service definition
 * -------------------------------------------------------------------------- */

BT_GATT_SERVICE_DEFINE(fast_pair_svc,
	BT_GATT_PRIMARY_SERVICE(&fp_svc_uuid),

	/* Key-based Pairing: Write + Indicate */
	BT_GATT_CHARACTERISTIC(&fp_kbp_char_uuid.uuid,
			       BT_GATT_CHRC_WRITE | BT_GATT_CHRC_INDICATE,
			       BT_GATT_PERM_WRITE,
			       NULL, fp_kbp_write, NULL),
	BT_GATT_CCC(fp_kbp_ccc_changed,
		    BT_GATT_PERM_READ | BT_GATT_PERM_WRITE),

	/* Passkey: Write + Indicate */
	BT_GATT_CHARACTERISTIC(&fp_passkey_char_uuid.uuid,
			       BT_GATT_CHRC_WRITE | BT_GATT_CHRC_INDICATE,
			       BT_GATT_PERM_WRITE,
			       NULL, fp_passkey_write, NULL),
	BT_GATT_CCC(fp_passkey_ccc_changed,
		    BT_GATT_PERM_READ | BT_GATT_PERM_WRITE),

	/* Account Key: Write only */
	BT_GATT_CHARACTERISTIC(&fp_acct_key_char_uuid.uuid,
			       BT_GATT_CHRC_WRITE,
			       BT_GATT_PERM_WRITE,
			       NULL, fp_account_key_write, NULL),
);

/* --------------------------------------------------------------------------
 * Public API
 * -------------------------------------------------------------------------- */

bool fast_pair_has_account_keys(void)
{
	return account_key_count > 0;
}

uint8_t fast_pair_get_account_key_count(void)
{
	return account_key_count;
}

int fast_pair_get_adv_data(uint8_t *buf, size_t len)
{
	if (len < FAST_PAIR_ADV_SERVICE_DATA_LEN) {
		return -ENOMEM;
	}

	if (account_key_count == 0) {
		/*
		 * Unprovisioned mode: broadcast the 24-bit model ID.
		 * Android phones with Google Play Services will recognise this
		 * and display a Fast Pair prompt when in proximity.
		 */
		buf[0] = (FAST_PAIR_MODEL_ID >> 16) & 0xFF;
		buf[1] = (FAST_PAIR_MODEL_ID >>  8) & 0xFF;
		buf[2] =  FAST_PAIR_MODEL_ID        & 0xFF;
	} else {
		/*
		 * Provisioned / GFDM beacon mode.
		 *
		 * The rotation counter acts as a beacon identifier seed.
		 * A complete GFDM implementation should use AES-EAX to encrypt
		 * a 20-byte value derived from the account key + counter (see
		 * Fast Pair spec §3.1.2).  Requires CONFIG_TINYCRYPT_AES=y.
		 */
		buf[0] = (beacon_rotation_counter >> 16) & 0xFF;
		buf[1] = (beacon_rotation_counter >>  8) & 0xFF;
		buf[2] =  beacon_rotation_counter        & 0xFF;
	}

	return FAST_PAIR_ADV_SERVICE_DATA_LEN;
}

void fast_pair_service_init(void)
{
	int err;

	account_key_count      = 0;
	beacon_rotation_counter = 0;
	memset(account_keys, 0, sizeof(account_keys));

	/*
	 * Register the settings handler so that stored account keys are loaded
	 * when settings_load() is called later in ble_backend_init().
	 */
	err = settings_register(&fp_settings_handler);
	if (err) {
		LOG_ERR("Fast Pair: failed to register settings handler (err %d)", err);
		return;
	}

	LOG_INF("Fast Pair: service initialized (model ID: 0x%06X)", FAST_PAIR_MODEL_ID);
}
```

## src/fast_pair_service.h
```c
/*
 * Copyright (c) 2024 Kelvin
 * SPDX-License-Identifier: Apache-2.0
 *
 * Google Fast Pair Service over BLE.
 *
 * Implements the Google Fast Pair GATT service (service UUID 0xFE2C) and
 * account-key storage for Google Find My Device Network (GFDM) beacon support.
 *
 * Spec reference: https://developers.google.com/nearby/fast-pair/spec
 */

#ifndef FAST_PAIR_SERVICE_H
#define FAST_PAIR_SERVICE_H

#include <zephyr/types.h>
#include <stdbool.h>

/* Google Fast Pair Service UUID (16-bit, assigned by Bluetooth SIG to Google) */
#define BT_UUID_FAST_PAIR_VAL 0xFE2C

/*
 * Google Fast Pair Model ID (24-bit).
 *
 * This placeholder (0x000000) must be replaced with a real Model ID obtained
 * by registering your device at:
 *   https://developers.google.com/nearby/fast-pair/console
 */
#define FAST_PAIR_MODEL_ID 0x000000U

/*
 * Emit a build warning when the placeholder model ID is used so that it is
 * not accidentally shipped in a production firmware.
 */
#if FAST_PAIR_MODEL_ID == 0x000000U
#warning "FAST_PAIR_MODEL_ID is 0x000000 (placeholder). Register a real Model ID at https://developers.google.com/nearby/fast-pair/console before production use."
#endif

/* Account Key size per the Fast Pair spec (AES-128 key: 16 bytes). */
#define FAST_PAIR_ACCOUNT_KEY_SIZE 16

/* Maximum number of account keys to persist in NVS flash. */
#define FAST_PAIR_MAX_ACCOUNT_KEYS 5

/*
 * Length of the Fast Pair advertisement service data payload (bytes):
 *   - Unprovisioned mode: 3-byte model ID.
 *   - Provisioned mode  : 3-byte encrypted/rotated identifier.
 */
#define FAST_PAIR_ADV_SERVICE_DATA_LEN 3

/**
 * @brief Initialize the Google Fast Pair GATT service.
 *
 * Registers the settings handler so that previously stored account keys are
 * loaded from NVS flash when settings_load() is subsequently called inside
 * ble_backend_init().
 *
 * Must be called **before** ble_backend_init().
 */
void fast_pair_service_init(void);

/**
 * @brief Check whether at least one account key is stored.
 *
 * @return true  Device is provisioned (has an account key from a paired phone).
 * @return false Device is unprovisioned.
 */
bool fast_pair_has_account_keys(void);

/**
 * @brief Return the number of stored account keys.
 *
 * @return Count in range [0, FAST_PAIR_MAX_ACCOUNT_KEYS].
 */
uint8_t fast_pair_get_account_key_count(void);

/**
 * @brief Fill @p buf with the Fast Pair advertisement service data payload.
 *
 * When unprovisioned the payload is the 3-byte model ID.
 * When provisioned  the payload contains a beacon identifier derived from
 * the stored account keys (rotation counter used as seed; full AES-EAX
 * encryption requires CONFIG_TINYCRYPT_AES=y).
 *
 * @param buf  Output buffer. Must be at least FAST_PAIR_ADV_SERVICE_DATA_LEN.
 * @param len  Capacity of @p buf.
 * @return     Number of bytes written, or a negative error code.
 */
int fast_pair_get_adv_data(uint8_t *buf, size_t len);

#endif /* FAST_PAIR_SERVICE_H */
```

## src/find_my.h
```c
/*
 * Copyright (c) 2024 Kelvin
 * SPDX-License-Identifier: Apache-2.0
 */

#ifndef FIND_MY_H
#define FIND_MY_H

#include <stdint.h>

/**
 * @file find_my.h
 * @brief Apple Find My (OpenHaystack) Offline Finding advertisement support.
 *
 * This module implements the OpenHaystack Offline Finding protocol, which
 * allows the device to be tracked via Apple's Find My network without any
 * Apple SDK.  It broadcasts a non-connectable BLE advertisement containing
 * an Apple manufacturer-specific payload that Apple devices silently relay
 * to Apple's servers.
 *
 * Protocol reference: https://github.com/seemoo-lab/openhaystack
 *
 * Key provisioning
 * ----------------
 * A real deployment requires a unique EC P-224 key pair generated with the
 * OpenHaystack desktop application.  The *compressed* 28-byte public key is
 * passed to find_my_init().  A demonstration placeholder key is provided in
 * find_my.c and selected by CONFIG_FIND_MY_DEMO_KEY.
 *
 * The device derives:
 *   - Its BLE random-static address from the first 6 bytes of the public key.
 *   - The advertisement payload from the remaining bytes.
 *
 * Key rotation
 * ------------
 * Apple's specification requires rotating the key pair every 15 minutes to
 * preserve user privacy.  For a production firmware, store multiple pre-
 * generated key pairs in flash and call find_my_rotate_key() on a timer.
 */

/** Size of a compressed EC P-224 public key used by Apple Find My. */
#define FIND_MY_PUBLIC_KEY_SIZE 28

/**
 * @brief Initialise the Apple Find My module.
 *
 * Must be called after bt_enable().  Derives the BLE identity address and
 * advertisement payload from @p public_key, then creates a dedicated
 * non-connectable extended advertising set.
 *
 * @param public_key  28-byte compressed EC P-224 public key.
 * @return 0 on success, negative errno on failure.
 */
int find_my_init(const uint8_t public_key[FIND_MY_PUBLIC_KEY_SIZE]);

/**
 * @brief Start Apple Find My advertising.
 *
 * The device will appear in the Apple Find My app once a nearby Apple device
 * picks up the advertisement and uploads the encrypted location report.
 *
 * @return 0 on success, negative errno on failure.
 */
int find_my_start(void);

/**
 * @brief Stop Apple Find My advertising.
 * @return 0 on success, negative errno on failure.
 */
int find_my_stop(void);

/**
 * @brief Rotate the public key used for Find My advertising.
 *
 * Stops the current advertising set, replaces the public key and derived
 * address, then restarts advertising.  Call every ~15 minutes in a production
 * firmware to satisfy Apple's privacy rotation requirements.
 *
 * @param public_key  New 28-byte compressed EC P-224 public key.
 * @return 0 on success, negative errno on failure.
 */
int find_my_rotate_key(const uint8_t public_key[FIND_MY_PUBLIC_KEY_SIZE]);

#endif /* FIND_MY_H */
```
